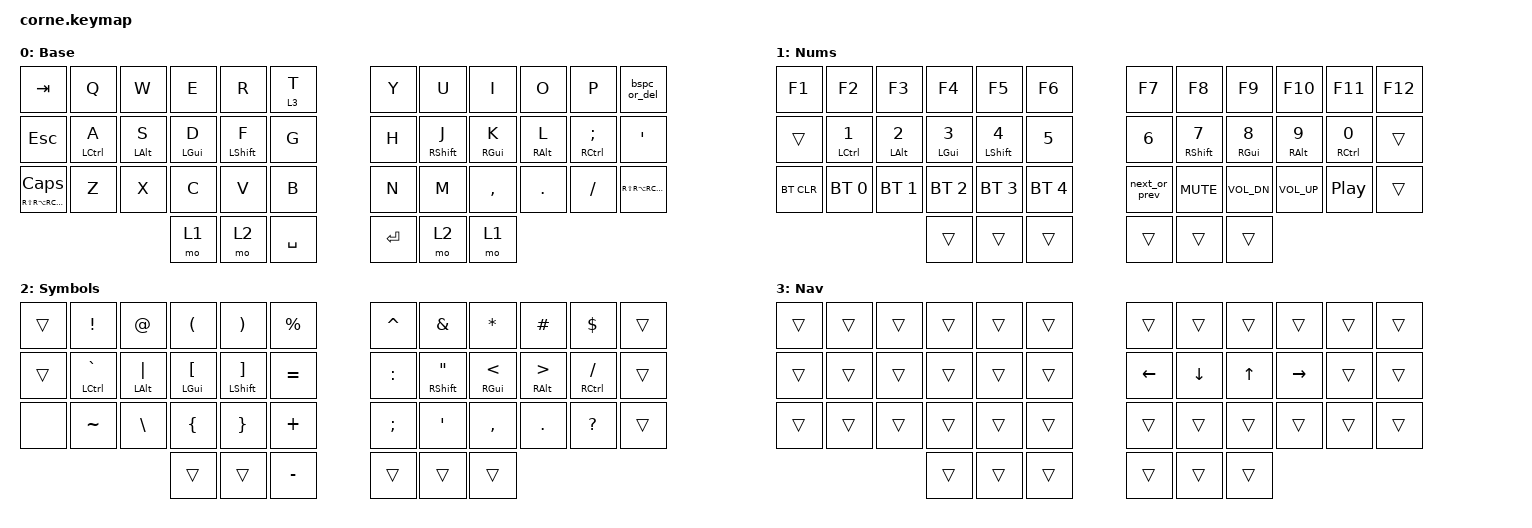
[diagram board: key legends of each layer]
/*
 * Copyright (c) 2020 The ZMK Contributors
 *
 * SPDX-License-Identifier: MIT
 */

#include <behaviors.dtsi>
#include <dt-bindings/zmk/bt.h>
#include <dt-bindings/zmk/keys.h>

&mt {
    flavor = "balanced";
    tapping-term-ms = <280>;
    require-prior-idle-ms = <0>;
};

/ {
    combos {
        compatible = "zmk,combos";

        Fn {
            bindings = <&kp GLOBE>;
            key-positions = <24 35>;
            layers = <0 1 2 3>;
            timeout-ms = <200>;
        };
    };

    behaviors {
        bspc_or_del: bspc_or_del {
            compatible = "zmk,behavior-mod-morph";
            label = "BSPC_OR_DEL";
            bindings = <&kp BSPC>, <&kp DEL>;

            #binding-cells = <0>;
            mods = <(MOD_LSFT|MOD_RSFT)>;
        };

        next_or_prev: next_or_prev {
            compatible = "zmk,behavior-mod-morph";
            label = "NEXT_OR_PREV";
            bindings = <&kp C_NEXT>, <&kp C_PREV>;

            #binding-cells = <0>;
            mods = <(MOD_LSFT|MOD_RSFT)>;
        };

        l_mt: l_mt {
            compatible = "zmk,behavior-hold-tap";
            label = "L_MT";
            bindings = <&kp>, <&kp>;

            #binding-cells = <2>;
            tapping-term-ms = <280>;
            flavor = "balanced";
            quick-tap-ms = <175>;
            require-prior-idle-ms = <0>;
            hold-trigger-key-positions = <6 10 11 18 19 20 21 22 23 30 31 32 33 34 35 39 40 41 6 7 8 9 10 18 19 20 21 22 30 31 32 33 34 38 37 36>;
            hold-trigger-on-release;
        };

        r_mt: r_mt {
            compatible = "zmk,behavior-hold-tap";
            label = "R_MT";
            bindings = <&kp>, <&kp>;

            #binding-cells = <2>;
            flavor = "balanced";
            tapping-term-ms = <280>;
            quick-tap-ms = <175>;
            require-prior-idle-ms = <0>;
            hold-trigger-key-positions = <0 1 2 3 4 5 12 13 14 15 16 17 24 25 26 27 28 29 36 37 38 41 40 39>;
            hold-trigger-on-release;
        };

        shift_or_caps: shift_or_caps {
            compatible = "zmk,behavior-hold-tap";
            label = "SHIFT_OR_CAPS";
            bindings = <&kp>, <&kp>;

            #binding-cells = <2>;
            tapping-term-ms = <280>;
            hold-trigger-key-positions = <6 7 8 9 10 11 18 19 20 21 22 23 30 31 32 33 34 35 39 40 41 36 37 38>;
        };
    };

    keymap {
        compatible = "zmk,keymap";

        default_layer {
            // -----------------------------------------------------------------------------------------
            // |  TAB |  Q  |  W  |  E  |  R  |  T  |   |  Y  |  U   |  I  |  O  |  P  | BKSP |
            // | CTRL |  A  |  S  |  D  |  F  |  G  |   |  H  |  J   |  K  |  L  |  ;  |  '   |
            // | SHFT |  Z  |  X  |  C  |  V  |  B  |   |  N  |  M   |  ,  |  .  |  /  | ESC  |
            //                    | GUI | LWR | SPC |   | ENT | RSE  | ALT |

            display-name = "Base";
            bindings = <
&kp TAB                                &kp Q          &kp W             &kp E             &kp R           &lt 3 T      &kp Y    &kp U           &kp I              &kp O              &kp P                  &bspc_or_del
&kp ESCAPE                             &l_mt LCTRL A  &l_mt LEFT_ALT S  &l_mt LEFT_GUI D  &l_mt LSHIFT F  &kp G        &kp H    &r_mt RSHIFT J  &r_mt RIGHT_GUI K  &r_mt RIGHT_ALT L  &r_mt RCTRL SEMICOLON  &kp SQT
&shift_or_caps RS(RA(RC(RMETA))) CAPS  &kp Z          &kp X             &kp C             &kp V           &kp B        &kp N    &kp M           &kp COMMA          &kp PERIOD         &kp SLASH              &kp RS(RA(RC(RMETA)))
                                                                        &mo 1             &mo 2           &kp SPACE    &kp RET  &mo 2           &mo 1
            >;
        };

        lower_layer {
            // -----------------------------------------------------------------------------------------
            // |  TAB |  1  |  2  |  3  |  4  |  5  |   |  6  |  7  |  8  |  9  |  0  | BKSP |
            // | BTCLR| BT1 | BT2 | BT3 | BT4 | BT5 |   | LFT | DWN |  UP | RGT |     |      |
            // | SHFT |     |     |     |     |     |   |     |     |     |     |     |      |
            //                    | GUI |     | SPC |   | ENT |     | ALT |

            display-name = "Nums";
            bindings = <
&kp F1      &kp F2                &kp F3                   &kp F4                   &kp F5                 &kp F6          &kp F7         &kp F8                 &kp F9                    &kp F10                   &kp F11               &kp F12
&trans      &l_mt LCTRL NUMBER_1  &l_mt LEFT_ALT NUMBER_2  &l_mt LEFT_GUI NUMBER_3  &l_mt LSHIFT NUMBER_4  &kp NUMBER_5    &kp NUMBER_6   &r_mt RSHIFT NUMBER_7  &r_mt RIGHT_GUI NUMBER_8  &r_mt RIGHT_ALT NUMBER_9  &r_mt RCTRL NUMBER_0  &trans
&bt BT_CLR  &bt BT_SEL 0          &bt BT_SEL 1             &bt BT_SEL 2             &bt BT_SEL 3           &bt BT_SEL 4    &next_or_prev  &kp C_MUTE             &kp C_VOL_DN              &kp C_VOL_UP              &kp C_PP              &trans
                                                           &trans                   &trans                 &trans          &trans         &trans                 &trans
            >;
        };

        raise_layer {
            // -----------------------------------------------------------------------------------------
            // |  TAB |  !  |  @  |  #  |  $  |  %  |   |  ^  |  &  |  *  |  (  |  )  | BKSP |
            // | CTRL |     |     |     |     |     |   |  -  |  =  |  [  |  ]  |  \  |  `   |
            // | SHFT |     |     |     |     |     |   |  _  |  +  |  {  |  }  | "|" |  ~   |
            //                    | GUI |     | SPC |   | ENT |     | ALT |

            display-name = "Symbols";
            bindings = <
&trans  &kp EXCL           &kp AT               &kp LPAR                     &kp RPAR                    &kp PRCNT    &kp CARET      &kp AMPS          &kp ASTRK           &kp HASH                      &kp DOLLAR         &trans
&trans  &l_mt LCTRL GRAVE  &l_mt LEFT_ALT PIPE  &l_mt LEFT_GUI LEFT_BRACKET  &l_mt LSHIFT RIGHT_BRACKET  &kp EQUAL    &kp COLON      &r_mt RSHIFT DQT  &r_mt RIGHT_GUI LT  &r_mt RIGHT_ALT GREATER_THAN  &r_mt RCTRL SLASH  &trans
&none   &kp TILDE          &kp BACKSLASH        &kp LBRC                     &kp RBRC                    &kp PLUS     &kp SEMICOLON  &kp SQT           &kp COMMA           &kp PERIOD                    &kp QMARK          &trans
                                                &trans                       &trans                      &kp MINUS    &trans         &trans            &trans
            >;
        };

        layer_3 {
            bindings = <
&trans  &trans  &trans  &trans  &trans  &trans    &trans    &trans    &trans  &trans     &trans  &trans
&trans  &trans  &trans  &trans  &trans  &trans    &kp LEFT  &kp DOWN  &kp UP  &kp RIGHT  &trans  &trans
&trans  &trans  &trans  &trans  &trans  &trans    &trans    &trans    &trans  &trans     &trans  &trans
                        &trans  &trans  &trans    &trans    &trans    &trans
            >;

            label = "Nav";
        };
    };

    conditional_layers { compatible = "zmk,conditional-layers"; };
};
